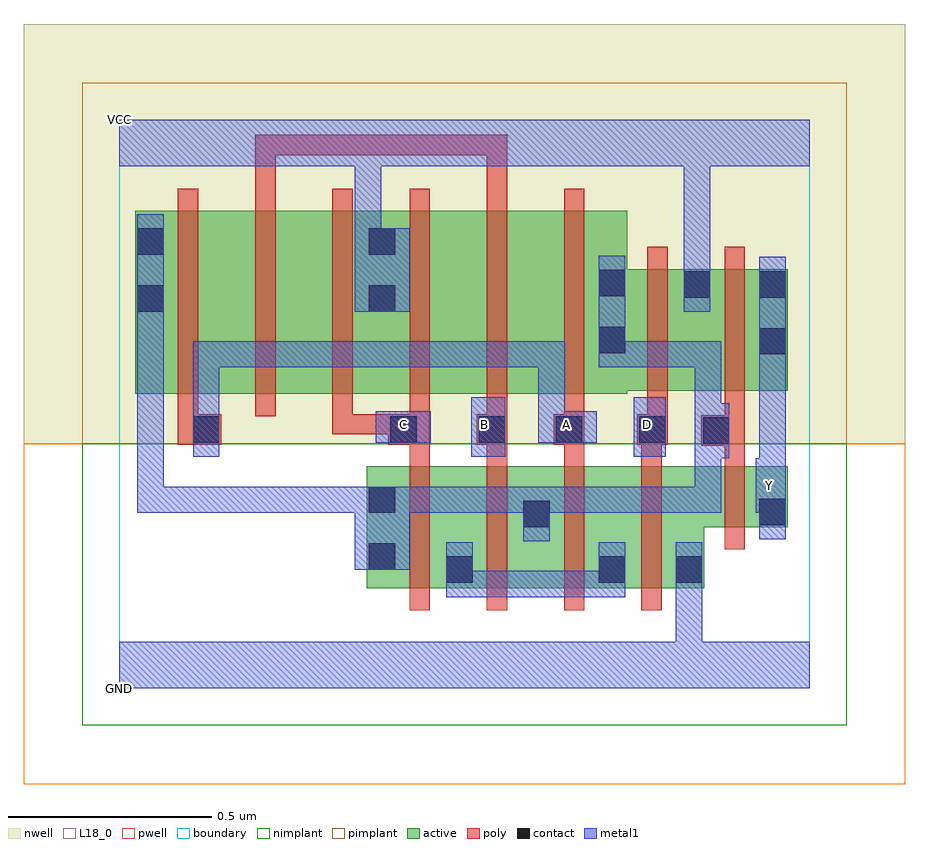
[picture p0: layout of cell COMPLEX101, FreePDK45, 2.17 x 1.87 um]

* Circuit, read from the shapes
.subckt COMPLEX101 A B C D GND VCC Y
M1 n1 C n2 VSUBS nfet w=0.3u l=0.05u
M2 n2 B n1 VSUBS nfet w=0.3u l=0.05u
M3 n1 A n2 VSUBS nfet w=0.3u l=0.05u
M4 GND D n1 VSUBS nfet w=0.3u l=0.05u
M5 Y n2 GND VSUBS nfet w=0.15u l=0.05u
M6 n3 A n2 n4 pfet w=0.45u l=0.05u
M7 n5 B n3 n4 pfet w=0.45u l=0.05u
M8 VCC C n5 n4 pfet w=0.45u l=0.05u
M9 n6 C VCC n4 pfet w=0.45u l=0.05u
M10 n7 B n6 n4 pfet w=0.45u l=0.05u
M11 n2 A n7 n4 pfet w=0.45u l=0.05u
M12 VCC D n2 n4 pfet w=0.3u l=0.05u
M13 Y n2 VCC n4 pfet w=0.3u l=0.05u
.ends

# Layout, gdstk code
import gdstk
lib = gdstk.Library(unit=1e-6, precision=1e-09)
def R(c, l, rs):  # rectangles x0, y0, x1, y1
    for r in rs: c.add(gdstk.rectangle(r[:2], r[2:], *l))
def A(c, l, x, y, w, h, nx, ny, dx, dy):  # array of equal rectangles
    R(c, l, [(x+i*dx, y+j*dy, x+i*dx+w, y+j*dy+h) for i in range(nx) for j in range(ny)])
active = (1, 0)
pwell = (2, 0)
nwell = (3, 0)
nimplant = (4, 0)
pimplant = (5, 0)
poly = (9, 0)
contact = (10, 0)
metal1 = (11, 0)
L18_0 = (18, 0)
boundary = (235, 0)

complex101 = lib.new_cell('COMPLEX101')
R(complex101, active, [(0.61,0.247,0.875,0.547), (0.61,0.247,0.685,0.547), (0.8,0.247,1.065,0.547), (0.8,0.247,0.875,0.392), (0.99,0.247,1.25,0.547), (0.99,0.247,1.065,0.467), (1.175,0.247,1.44,0.547), (1.175,0.247,1.25,0.392), (1.365,0.247,1.44,0.397), (1.365,0.397,1.645,0.547), (1.57,0.397,1.645,0.547), (0.04,0.725,0.265,1.175), (0.04,0.725,0.115,1.137), (0.265,0.725,0.455,1.175), (0.455,0.725,0.685,1.175), (0.61,0.725,0.835,1.175), (0.835,0.725,1.025,1.175), (1.025,0.725,1.25,1.175), (0.61,0.732,0.685,1.175), (1.175,0.732,1.46,1.032), (1.385,0.732,1.645,1.032), (1.57,0.732,1.645,1.032), (1.175,0.747,1.25,1.035), (1.385,0.747,1.46,1.032)])
R(complex101, pwell, [(-0.235,-0.235,1.935,0.602)])
R(complex101, nwell, [(-0.235,0.602,1.935,1.635)])
R(complex101, nimplant, [(-0.09,-0.09,1.79,0.602)])
R(complex101, pimplant, [(-0.09,0.602,1.79,1.49)])
A(complex101, poly, 0.715, 0.192, 0.05, 0.41, 4, 1, 0.19, 0)
A(complex101, poly, 0.715, 0.552, 0.05, 0.098, 4, 1, 0.19, 0)
A(complex101, poly, 0.525, 0.625, 0.05, 0.095, 4, 1, 0.19, 0)
A(complex101, poly, 0.145, 0.67, 0.05, 0.56, 6, 1, 0.19, 0)
R(complex101, poly, [(1.49,0.342,1.54,0.602), (1.49,0.552,1.54,0.647), (1.432,0.597,1.54,0.672), (0.145,0.6,0.252,0.675), (0.662,0.6,0.765,0.675), (0.88,0.6,0.955,0.675), (1.07,0.6,1.145,0.675), (1.275,0.6,1.35,0.675), (1.49,0.622,1.54,0.727), (0.145,0.625,0.195,0.72), (0.525,0.625,0.575,0.675), (0.525,0.625,0.712,0.675), (0.662,0.625,0.712,0.675), (0.662,0.625,0.712,0.675), (1.3,0.625,1.35,0.727), (1.3,0.677,1.35,1.087), (1.49,0.677,1.54,1.087), (0.335,1.18,0.385,1.362), (0.905,1.18,0.955,1.362), (0.335,1.312,0.385,1.362), (0.335,1.312,0.385,1.362), (0.335,1.312,0.385,1.362), (0.335,1.312,0.575,1.362), (0.525,1.312,0.575,1.362), (0.525,1.312,0.575,1.362), (0.525,1.312,0.575,1.362), (0.525,1.312,0.797,1.362), (0.747,1.312,0.797,1.362), (0.747,1.312,0.955,1.362), (0.905,1.312,0.955,1.362), (0.905,1.312,0.955,1.362), (0.905,1.312,0.955,1.362)])
R(complex101, contact, [(0.805,0.26,0.87,0.325), (1.18,0.26,1.245,0.325), (1.37,0.26,1.435,0.325), (0.615,0.292,0.68,0.357), (0.995,0.397,1.06,0.462), (1.575,0.402,1.64,0.467), (0.615,0.432,0.68,0.497), (1.437,0.602,1.502,0.667), (0.182,0.605,0.247,0.67), (0.667,0.605,0.732,0.67), (0.885,0.605,0.95,0.67), (1.075,0.605,1.14,0.67), (1.28,0.605,1.345,0.67), (1.575,0.822,1.64,0.887), (1.18,0.825,1.245,0.89), (0.045,0.927,0.11,0.992), (0.615,0.927,0.68,0.992), (1.39,0.962,1.455,1.027), (1.575,0.962,1.64,1.027), (1.18,0.965,1.245,1.03), (0.045,1.067,0.11,1.132), (0.615,1.067,0.68,1.132)])
R(complex101, metal1, [(0,0,1.7,0.115), (1.37,0.05,1.435,0.29), (0.805,0.225,0.87,0.29), (0.805,0.225,0.87,0.29), (0.805,0.225,0.87,0.36), (0.805,0.225,1.087,0.29), (1.022,0.225,1.087,0.29), (1.022,0.225,1.087,0.29), (1.022,0.225,1.087,0.29), (1.022,0.225,1.245,0.29), (1.18,0.225,1.245,0.36), (1.37,0.225,1.435,0.29), (1.37,0.225,1.435,0.29), (1.37,0.225,1.435,0.36), (0.58,0.292,0.715,0.497), (0.995,0.362,1.06,0.497), (1.575,0.367,1.64,0.502), (0.045,0.432,0.11,0.497), (0.045,0.432,0.11,0.497), (0.045,0.432,0.11,0.497), (0.045,0.432,0.247,0.497), (0.045,0.432,0.11,0.957), (0.182,0.432,0.247,0.497), (0.182,0.432,0.247,0.497), (0.182,0.432,0.247,0.497), (0.182,0.432,0.385,0.497), (0.32,0.432,0.385,0.497), (0.32,0.432,0.385,0.497), (0.32,0.432,0.385,0.497), (0.32,0.432,0.547,0.497), (0.482,0.432,0.547,0.497), (0.482,0.432,0.645,0.497), (0.65,0.432,0.715,0.497), (0.65,0.432,0.715,0.497), (0.65,0.432,0.852,0.497), (0.787,0.432,0.852,0.497), (0.787,0.432,0.852,0.497), (0.787,0.432,0.852,0.497), (0.787,0.432,1.06,0.497), (0.995,0.432,1.087,0.497), (1.022,0.432,1.087,0.497), (1.022,0.432,1.235,0.497), (1.17,0.432,1.235,0.497), (1.17,0.432,1.235,0.497), (1.17,0.432,1.235,0.497), (1.17,0.432,1.482,0.497), (1.417,0.432,1.482,0.497), (1.417,0.432,1.482,0.702), (1.567,0.432,1.64,0.567), (1.575,0.437,1.64,0.502), (1.575,0.502,1.64,0.852), (1.437,0.567,1.502,0.702), (0.182,0.57,0.247,0.705), (0.867,0.57,0.95,0.717), (1.267,0.57,1.345,0.717), (0.632,0.605,0.767,0.682), (1.032,0.605,1.175,0.682), (1.032,0.617,1.097,0.682), (1.032,0.617,1.097,0.682), (1.032,0.617,1.097,0.855), (1.417,0.637,1.482,0.702), (1.417,0.637,1.502,0.702), (1.417,0.637,1.482,0.855), (0.182,0.64,0.247,0.705), (0.182,0.64,0.247,0.705), (0.182,0.64,0.247,0.855), (1.575,0.787,1.64,1.062), (0.182,0.79,0.247,0.855), (0.182,0.79,0.385,0.855), (0.32,0.79,0.385,0.855), (0.32,0.79,0.385,0.855), (0.32,0.79,0.385,0.855), (0.32,0.79,0.522,0.855), (0.457,0.79,0.522,0.855), (0.457,0.79,0.522,0.855), (0.457,0.79,0.522,0.855), (0.457,0.79,0.685,0.855), (0.62,0.79,0.685,0.855), (0.62,0.79,0.852,0.855), (0.787,0.79,0.852,0.855), (0.787,0.79,0.852,0.855), (0.787,0.79,0.852,0.855), (0.787,0.79,1.097,0.855), (1.032,0.79,1.097,0.855), (1.18,0.79,1.245,1.065), (1.18,0.79,1.245,0.855), (1.18,0.79,1.245,0.855), (1.18,0.79,1.482,0.855), (1.417,0.79,1.482,0.855), (0.045,0.892,0.11,1.167), (0.58,0.927,0.715,1.132), (1.39,0.927,1.455,1.062), (1.39,0.997,1.455,1.35), (0.58,1.067,0.645,1.35), (0,1.285,1.7,1.4), (0.58,1.285,0.645,1.35), (0.58,1.285,0.645,1.35), (1.39,1.285,1.455,1.35), (1.39,1.285,1.455,1.35), (1.39,1.285,1.455,1.35), (1.39,1.285,1.455,1.35)])
R(complex101, L18_0, [(0,0,1.7,0.115), (1.37,0.05,1.435,0.29), (1.37,0.225,1.435,0.36), (1.37,0.225,1.435,0.29), (1.37,0.225,1.435,0.29), (1.575,0.367,1.64,0.502), (1.567,0.432,1.64,0.567), (1.575,0.437,1.64,0.502), (1.567,0.467,1.632,0.532), (1.575,0.502,1.64,0.852), (0.182,0.57,0.247,0.705), (0.867,0.57,0.95,0.717), (1.267,0.57,1.345,0.717), (0.632,0.605,0.767,0.682), (1.032,0.605,1.175,0.682), (0.667,0.617,0.732,0.682), (0.867,0.617,0.932,0.682), (1.032,0.617,1.097,0.682), (1.032,0.617,1.097,0.682), (1.032,0.617,1.097,0.855), (1.067,0.617,1.132,0.682), (1.267,0.617,1.332,0.682), (0.182,0.64,0.247,0.705), (0.182,0.64,0.247,0.705), (0.182,0.64,0.247,0.855), (1.575,0.787,1.64,1.062), (0.182,0.79,0.247,0.855), (0.182,0.79,0.385,0.855), (0.32,0.79,0.385,0.855), (0.32,0.79,0.385,0.855), (0.32,0.79,0.385,0.855), (0.32,0.79,0.522,0.855), (0.457,0.79,0.522,0.855), (0.457,0.79,0.522,0.855), (0.457,0.79,0.522,0.855), (0.457,0.79,0.685,0.855), (0.62,0.79,0.685,0.855), (0.62,0.79,0.852,0.855), (0.787,0.79,0.852,0.855), (0.787,0.79,0.852,0.855), (0.787,0.79,0.852,0.855), (0.787,0.79,1.097,0.855), (1.032,0.79,1.097,0.855), (0.58,0.927,0.715,1.132), (1.39,0.927,1.455,1.062), (1.39,0.997,1.455,1.35), (0.58,1.067,0.645,1.35), (0,1.285,1.7,1.4), (0.58,1.285,0.645,1.35), (0.58,1.285,0.645,1.35), (1.39,1.285,1.455,1.35), (1.39,1.285,1.455,1.35), (1.39,1.285,1.455,1.35), (1.39,1.285,1.455,1.35)])
R(complex101, boundary, [(0,0,1.7,1.4)])
complex101.add(gdstk.Label('A', (1.1,0.65), layer=11, texttype=0))
complex101.add(gdstk.Label('B', (0.9,0.65), layer=11, texttype=0))
complex101.add(gdstk.Label('C', (0.7,0.65), layer=11, texttype=0))
complex101.add(gdstk.Label('D', (1.3,0.65), layer=11, texttype=0))
complex101.add(gdstk.Label('Y', (1.6,0.5), layer=11, texttype=0))
complex101.add(gdstk.Label('VCC', (0,1.4), layer=11, texttype=0))
complex101.add(gdstk.Label('GND', (0,0), layer=11, texttype=0))

lib.write_gds('COMPLEX101.gds')
